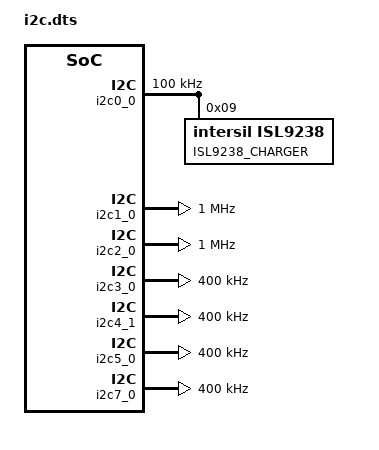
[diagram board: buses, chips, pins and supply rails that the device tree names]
/* Copyright 2021 The Chromium OS Authors. All rights reserved.
 * Use of this source code is governed by a BSD-style license that can be
 * found in the LICENSE file.
 */

/ {
	aliases {
		i2c-0 = &i2c0_0;
		i2c-1 = &i2c1_0;
		i2c-2 = &i2c2_0;
		i2c-3 = &i2c3_0;
		i2c-4 = &i2c4_1;
		i2c-5 = &i2c5_0;
		i2c-7 = &i2c7_0;
	};

	named-i2c-ports {
		compatible = "named-i2c-ports";

		power {
			i2c-port = <&i2c0_0>;
			enum-name = "I2C_PORT_POWER";
			label = "POWER";
		};
		battery {
			i2c-port = <&i2c0_0>;
			remote-port = <0>;
			enum-name = "I2C_PORT_BATTERY";
			label = "BATTERY";
		};
		virtual {
			i2c-port = <&i2c0_0>;
			enum-name = "I2C_PORT_VIRTUAL";
			label = "VIRTUAL";
		};
		charger {
			i2c-port = <&i2c0_0>;
			enum-name = "I2C_PORT_CHARGER";
			label = "CHARGER";
		};
		tcpc0 {
			i2c-port = <&i2c1_0>;
			enum-name = "I2C_PORT_TCPC0";
			label = "TCPC0";
		};
		tcpc1 {
			i2c-port = <&i2c2_0>;
			enum-name = "I2C_PORT_TCPC1";
			label = "TCPC1";
		};
		rtc {
			i2c-port = <&i2c4_1>;
			enum-name = "I2C_PORT_RTC";
			label = "RTC";
		};
		eeprom {
			i2c-port = <&i2c5_0>;
			enum-name = "I2C_PORT_EEPROM";
			label = "EEPROM";
		};
		i2c_sensor: sensor {
			i2c-port = <&i2c7_0>;
			enum-name = "I2C_PORT_SENSOR";
			label = "SENSOR";
		};
		accel {
			i2c-port = <&i2c7_0>;
			enum-name = "I2C_PORT_ACCEL";
			label = "ACCEL";
		};
	};


};

&i2c0_0 {
	status = "okay";
	clock-frequency = <I2C_BITRATE_STANDARD>;

	isl9238: isl9238@9 {
		compatible = "intersil,isl9238";
		reg = <0x09>;
		label = "ISL9238_CHARGER";
	};
};

&i2c1_0 {
	status = "okay";
	clock-frequency = <I2C_BITRATE_FAST_PLUS>;
};

&i2c2_0 {
	status = "okay";
	clock-frequency = <I2C_BITRATE_FAST_PLUS>;
};

&i2c3_0 {
	/* Not used as no WLC connected */
	clock-frequency = <I2C_BITRATE_FAST>;
};

&i2c4_1 {
	status = "okay";
	clock-frequency = <I2C_BITRATE_FAST>;
};

&i2c5_0 {
	status = "okay";
	clock-frequency = <I2C_BITRATE_FAST>;
};

&i2c7_0 {
	status = "okay";
	clock-frequency = <I2C_BITRATE_FAST>;
};
